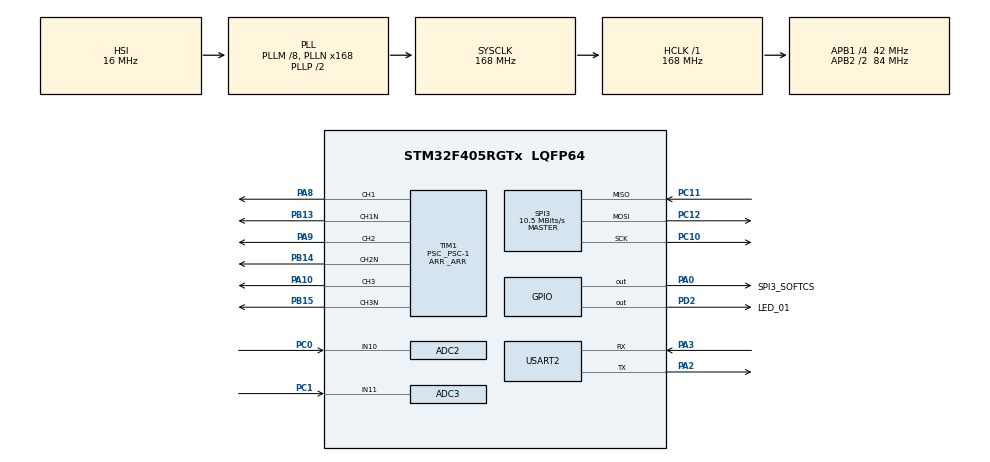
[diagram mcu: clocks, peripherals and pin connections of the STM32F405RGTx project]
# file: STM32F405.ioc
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ADC2.Channel-0\#ChannelRegularConversion=ADC_CHANNEL_10
ADC2.Channel-3\#ChannelInjectedConversion=ADC_CHANNEL_10
ADC2.ContinuousConvMode=ENABLE
ADC2.ExternalTrigInjecConv=ADC_EXTERNALTRIGINJECCONV_T1_TRGO
ADC2.InjNumberOfConversion=1
ADC2.InjectedOffset-3\#ChannelInjectedConversion=0
ADC2.InjectedRank-3\#ChannelInjectedConversion=1
ADC2.NbrOfConversionFlag=1
ADC2.Rank-0\#ChannelRegularConversion=1
ADC2.SamplingTime-0\#ChannelRegularConversion=ADC_SAMPLETIME_3CYCLES
ADC2.SamplingTime-3\#ChannelInjectedConversion=ADC_SAMPLETIME_3CYCLES
ADC3.Channel-2\#ChannelRegularConversion=ADC_CHANNEL_11
ADC3.Channel-3\#ChannelInjectedConversion=ADC_CHANNEL_11
ADC3.ContinuousConvMode=ENABLE
ADC3.ExternalTrigInjecConv=ADC_EXTERNALTRIGINJECCONV_T1_TRGO
ADC3.InjNumberOfConversion=1
ADC3.InjectedOffset-3\#ChannelInjectedConversion=0
ADC3.InjectedRank-3\#ChannelInjectedConversion=1
ADC3.NbrOfConversionFlag=1
ADC3.Rank-2\#ChannelRegularConversion=1
ADC3.SamplingTime-2\#ChannelRegularConversion=ADC_SAMPLETIME_3CYCLES
ADC3.SamplingTime-3\#ChannelInjectedConversion=ADC_SAMPLETIME_3CYCLES
Dma.Request0=USART2_RX
Dma.Request1=USART2_TX
Dma.USART2_RX.0.Direction=DMA_PERIPH_TO_MEMORY
Dma.USART2_RX.0.FIFOMode=DMA_FIFOMODE_DISABLE
Dma.USART2_RX.0.Instance=DMA1_Stream5
Dma.USART2_RX.0.MemDataAlignment=DMA_MDATAALIGN_BYTE
Dma.USART2_RX.0.MemInc=DMA_MINC_ENABLE
Dma.USART2_RX.0.Mode=DMA_NORMAL
Dma.USART2_RX.0.PeriphDataAlignment=DMA_PDATAALIGN_BYTE
Dma.USART2_RX.0.PeriphInc=DMA_PINC_DISABLE
Dma.USART2_RX.0.Priority=DMA_PRIORITY_LOW
Dma.USART2_TX.1.Direction=DMA_MEMORY_TO_PERIPH
Dma.USART2_TX.1.FIFOMode=DMA_FIFOMODE_DISABLE
Dma.USART2_TX.1.Instance=DMA1_Stream6
Dma.USART2_TX.1.MemDataAlignment=DMA_MDATAALIGN_BYTE
Dma.USART2_TX.1.MemInc=DMA_MINC_ENABLE
Dma.USART2_TX.1.Mode=DMA_NORMAL
Dma.USART2_TX.1.PeriphDataAlignment=DMA_PDATAALIGN_BYTE
Dma.USART2_TX.1.PeriphInc=DMA_PINC_DISABLE
Dma.USART2_TX.1.Priority=DMA_PRIORITY_LOW
Mcu.Family=STM32F4
Mcu.Name=STM32F405RGTx
Mcu.Package=LQFP64
Mcu.UserConstants=_PSC,1;_ARR,3500
NVIC.DMA1_Stream6_IRQn=true\:0\:0\:false\:false\:true\:false\:true\:true
NVIC.PriorityGroup=NVIC_PRIORITYGROUP_4
NVIC.TIM1_UP_TIM10_IRQn=true\:0\:0\:false\:false\:true\:true\:true\:true
NVIC.USART2_IRQn=true\:0\:0\:false\:false\:true\:true\:true\:true
PA0-WKUP.GPIO_Label=SPI3_SOFTCS
PA0-WKUP.Signal=GPIO_Output
PA10.Signal=S_TIM1_CH3
PA13.Mode=Serial_Wire
PA13.Signal=SYS_JTMS-SWDIO
PA14.Mode=Serial_Wire
PA14.Signal=SYS_JTCK-SWCLK
PA2.Mode=Asynchronous
PA2.Signal=USART2_TX
PA3.Mode=Asynchronous
PA3.Signal=USART2_RX
PA8.Signal=S_TIM1_CH1
PA9.Signal=S_TIM1_CH2
PB13.Mode=PWM Generation1 CH1 CH1N
PB13.Signal=TIM1_CH1N
PB14.Mode=PWM Generation2 CH2 CH2N
PB14.Signal=TIM1_CH2N
PB15.Mode=PWM Generation3 CH3 CH3N
PB15.Signal=TIM1_CH3N
PC0.Signal=ADCx_IN10
PC1.Signal=ADCx_IN11
PC10.Mode=Full_Duplex_Master
PC10.Signal=SPI3_SCK
PC11.Mode=Full_Duplex_Master
PC11.Signal=SPI3_MISO
PC12.Mode=Full_Duplex_Master
PC12.Signal=SPI3_MOSI
PD2.GPIO_Label=LED_01
PD2.Signal=GPIO_Output
ProjectManager.HeapSize=0x200
ProjectManager.StackSize=0x400
ProjectManager.TargetToolchain=Makefile
RCC.48MHZClocksFreq_Value=84000000
RCC.AHBFreq_Value=168000000
RCC.APB1CLKDivider=RCC_HCLK_DIV4
RCC.APB1Freq_Value=42000000
RCC.APB1TimFreq_Value=84000000
RCC.APB2CLKDivider=RCC_HCLK_DIV2
RCC.APB2Freq_Value=84000000
RCC.APB2TimFreq_Value=168000000
RCC.CortexFreq_Value=168000000
RCC.HCLKFreq_Value=168000000
RCC.HSE_VALUE=25000000
RCC.HSI_VALUE=16000000
RCC.LSE_VALUE=32768
RCC.PLLM=8
RCC.PLLN=168
RCC.SYSCLKFreq_VALUE=168000000
RCC.SYSCLKSource=RCC_SYSCLKSOURCE_PLLCLK
RCC.VCOOutputFreq_Value=336000000
SH.ADCx_IN10.0=ADC2_IN10,IN10
SH.ADCx_IN11.0=ADC3_IN11,IN11
SH.S_TIM1_CH1.0=TIM1_CH1,PWM Generation1 CH1 CH1N
SH.S_TIM1_CH2.0=TIM1_CH2,PWM Generation2 CH2 CH2N
SH.S_TIM1_CH3.0=TIM1_CH3,PWM Generation3 CH3 CH3N
SPI3.BaudRatePrescaler=SPI_BAUDRATEPRESCALER_4
SPI3.CLKPhase=SPI_PHASE_2EDGE
SPI3.CalculateBaudRate=10.5 MBits/s
SPI3.DataSize=SPI_DATASIZE_16BIT
SPI3.Direction=SPI_DIRECTION_2LINES
SPI3.Mode=SPI_MODE_MASTER
SPI3.VirtualType=VM_MASTER
TIM1.AutoReloadPreload=TIM_AUTORELOAD_PRELOAD_ENABLE
TIM1.AutomaticOutput=TIM_AUTOMATICOUTPUT_ENABLE
TIM1.BreakState=TIM_BREAK_DISABLE
TIM1.Channel-PWM\ Generation1\ CH1\ CH1N=TIM_CHANNEL_1
TIM1.Channel-PWM\ Generation2\ CH2\ CH2N=TIM_CHANNEL_2
TIM1.Channel-PWM\ Generation3\ CH3\ CH3N=TIM_CHANNEL_3
TIM1.CounterMode=TIM_COUNTERMODE_CENTERALIGNED3
TIM1.DeadTime=100
TIM1.OCMode_PWM-PWM\ Generation1\ CH1\ CH1N=TIM_OCMODE_PWM2
TIM1.OCMode_PWM-PWM\ Generation2\ CH2\ CH2N=TIM_OCMODE_PWM2
TIM1.OCMode_PWM-PWM\ Generation3\ CH3\ CH3N=TIM_OCMODE_PWM2
TIM1.OCNPolarity_1=TIM_OCNPOLARITY_HIGH
TIM1.OCNPolarity_2=TIM_OCNPOLARITY_HIGH
TIM1.OCNPolarity_3=TIM_OCNPOLARITY_HIGH
TIM1.OffStateIDLEMode=TIM_OSSI_ENABLE
TIM1.OffStateRunMode=TIM_OSSR_ENABLE
TIM1.Period=_ARR
TIM1.Prescaler=_PSC-1
TIM1.RepetitionCounter=2
TIM1.TIM_MasterOutputTrigger=TIM_TRGO_UPDATE
TIM1.TIM_MasterSlaveMode=TIM_MASTERSLAVEMODE_ENABLE
USART2.VirtualMode=VM_ASYNC
VP_TIM1_VS_ClockSourceINT.Mode=Internal
board=custom

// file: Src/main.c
/* USER CODE BEGIN Header */
/**
  ******************************************************************************
  * @file           : main.c
  * @brief          : Main program body
  ******************************************************************************
  * @attention
  *
  * Copyright (c) 2024 STMicroelectronics.
  * All rights reserved.
  *
  * This software is licensed under terms that can be found in the LICENSE file
  * in the root directory of this software component.
  * If no LICENSE file comes with this software, it is provided AS-IS.
  *
  ******************************************************************************
  */
/* USER CODE END Header */
#include "main.h"
#include "adc.h"
#include "dma.h"
#include "spi.h"
#include "tim.h"
#include "usart.h"
#include "gpio.h"

/* USER CODE BEGIN Includes */
// #include "debuglog.h"
// #include "as5047.h"
// #include "sensor.h"
// #include "hardware.h"
// #include "motorctrl.h"
// #include "protocol.h"
#include "taskmodule.h"
#include "debuglog.h"
#include "flash.h"
/* USER CODE END Includes */

void SystemClock_Config(void);

/* USER CODE BEGIN 0 */
#define SYSRUNNING_PERCI            (1)
#define DELAY_1MS                   (1)/SYSRUNNING_PERCI
#define DELAY_2MS                   (2)/SYSRUNNING_PERCI
#define DELAY_5MS                   (5)/SYSRUNNING_PERCI
#define DELAY_20MS                  (20)/SYSRUNNING_PERCI
#define DELAY_100MS                 (100)/SYSRUNNING_PERCI
#define DELAY_500MS                 (500)/SYSRUNNING_PERCI
#define DELAY_1000MS                (1000)/SYSRUNNING_PERCI
#define DELAY_5000MS                (5000)/SYSRUNNING_PERCI
  enum{
      SYS_IDLE = 0,
      SYS_NORMLE,
  };
typedef struct
{
    unsigned int time_cnt;
    unsigned char state;
}sys_run_t;
static sys_run_t sg_SYSRuning = {.time_cnt = 0, .state = SYS_IDLE};
void sysrunning_process(void)
{
  sg_SYSRuning.time_cnt++;
  switch (sg_SYSRuning.state)
  {
      case SYS_IDLE:
          if(!(sg_SYSRuning.time_cnt % (DELAY_1000MS))){
          }
          if(!(sg_SYSRuning.time_cnt % (DELAY_500MS)))
          {

          }
          if((sg_SYSRuning.time_cnt % (DELAY_100MS)) == 0)
          {
            HAL_GPIO_TogglePin(LED_01_GPIO_Port,LED_01_Pin);
          }
          if(!(sg_SYSRuning.time_cnt % (DELAY_2MS))){
          }
          break;
      default:
          break;
  }
}

/* USER CODE END 0 */

int main(void)
{

  /* MCU Configuration--------------------------------------------------------*/

  /* Reset of all peripherals, Initializes the Flash interface and the Systick. */
  HAL_Init();

  /* Configure the system clock */
  SystemClock_Config();

  /* Initialize all configured peripherals */
  MX_GPIO_Init();
  MX_DMA_Init();
  MX_SPI3_Init();
  MX_TIM1_Init();
  MX_ADC2_Init();
  MX_USART2_UART_Init();
  MX_ADC3_Init();
  /* USER CODE BEGIN 2 */
  USER_DEBUG_NORMAL("F405 Hello World\n");
  // user_flash_test();
  /* USER CODE END 2 */

  /* Infinite loop */
  /* USER CODE BEGIN WHILE */
  while (1)
  {
    HAL_Delay(1);
    do_taskcalls();
    sysrunning_process();
    /* USER CODE END WHILE */

  }
}

void SystemClock_Config(void)
{
  RCC_OscInitTypeDef RCC_OscInitStruct = {0};
  RCC_ClkInitTypeDef RCC_ClkInitStruct = {0};

  /** Configure the main internal regulator output voltage
  */
  __HAL_RCC_PWR_CLK_ENABLE();
  __HAL_PWR_VOLTAGESCALING_CONFIG(PWR_REGULATOR_VOLTAGE_SCALE1);

  /** Initializes the RCC Oscillators according to the specified parameters
  * in the RCC_OscInitTypeDef structure.
  */
  RCC_OscInitStruct.OscillatorType = RCC_OSCILLATORTYPE_HSI;
  RCC_OscInitStruct.HSIState = RCC_HSI_ON;
  RCC_OscInitStruct.HSICalibrationValue = RCC_HSICALIBRATION_DEFAULT;
  RCC_OscInitStruct.PLL.PLLState = RCC_PLL_ON;
  RCC_OscInitStruct.PLL.PLLSource = RCC_PLLSOURCE_HSI;
  RCC_OscInitStruct.PLL.PLLM = 8;
  RCC_OscInitStruct.PLL.PLLN = 168;
  RCC_OscInitStruct.PLL.PLLP = RCC_PLLP_DIV2;
  RCC_OscInitStruct.PLL.PLLQ = 4;
  if (HAL_RCC_OscConfig(&RCC_OscInitStruct) != HAL_OK)
  {
    Error_Handler();
  }

  /** Initializes the CPU, AHB and APB buses clocks
  */
  RCC_ClkInitStruct.ClockType = RCC_CLOCKTYPE_HCLK|RCC_CLOCKTYPE_SYSCLK
                              |RCC_CLOCKTYPE_PCLK1|RCC_CLOCKTYPE_PCLK2;
  RCC_ClkInitStruct.SYSCLKSource = RCC_SYSCLKSOURCE_PLLCLK;
  RCC_ClkInitStruct.AHBCLKDivider = RCC_SYSCLK_DIV1;
  RCC_ClkInitStruct.APB1CLKDivider = RCC_HCLK_DIV4;
  RCC_ClkInitStruct.APB2CLKDivider = RCC_HCLK_DIV2;

  if (HAL_RCC_ClockConfig(&RCC_ClkInitStruct, FLASH_LATENCY_5) != HAL_OK)
  {
    Error_Handler();
  }
}

void Error_Handler(void)
{
  __disable_irq();
  while (1)
  {
  }
}
